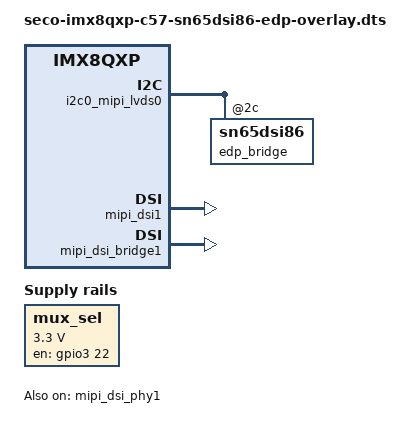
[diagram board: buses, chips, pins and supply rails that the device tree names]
/*
 * Copyright 2017-2018 NXP
 *
 * This program is free software; you can redistribute it and/or
 * modify it under the terms of the GNU General Public License
 * as published by the Free Software Foundation; either version 2
 * of the License, or (at your option) any later version.
 *
 * This program is distributed in the hope that it will be useful,
 * but WITHOUT ANY WARRANTY; without even the implied warranty of
 * MERCHANTABILITY or FITNESS FOR A PARTICULAR PURPOSE.  See the
 * GNU General Public License for more details.
 */
/*
 * HDMI only dts, disable ldb display.
 */

/dts-v1/;
/plugin/;


/ {
    compatible = "fsl,imx8qxp-mek","seco,imx8qxp-c57","fsl,imx8qxp";

/*  __________________________________________________________________________
 * |                                                                          |
 * |                      LVDS 1920x1080 (DUAL CHANNEL)                       |
 * |__________________________________________________________________________|
 */


	fragment@0 {
                target = <&mux_sel>;
                __overlay__ {
				compatible = "regulator-fixed";
                regulator-name = "MUX_SEL";
                regulator-min-microvolt = <3300000>;
                regulator-max-microvolt = <3300000>;
                gpio = <&gpio3 22 1>;
                enable-active-high;
                regulator-always-on;
                };
        };

	fragment@1 {
                target = <&panel>;
                __overlay__ {
                status = "okay";
                };
                

        };

	fragment@2 {
                target = <&i2c0_mipi_lvds0>;
                __overlay__ {
                status = "okay";

                edp_bridge: sn65dsi86@2c {
                    status = "okay";

                };
            };
        };

	fragment@3 {
                target = <&mipi_dsi_phy1>;
                __overlay__ {
                        status = "okay"; 
                };
        };

	fragment@4 {
                target = <&mipi_dsi1>;
                __overlay__ {
                pwr-delay = <10>;
	            status = "okay";
            };
        };

    fragment@5 {
                target = <&mipi_dsi_bridge1>;
                __overlay__ {
                status = "okay";
            };
        };

};
